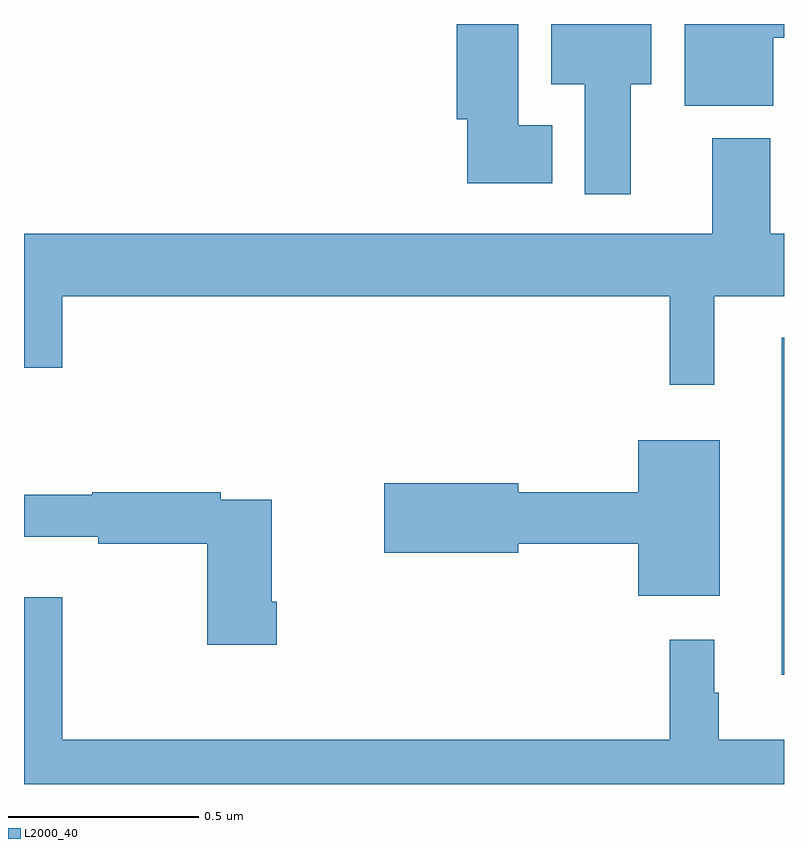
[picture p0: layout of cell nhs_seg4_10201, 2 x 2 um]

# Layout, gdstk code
import gdstk
lib = gdstk.Library(unit=1e-6, precision=1e-09)
def R(c, l, rs):  # rectangles x0, y0, x1, y1
    for r in rs: c.add(gdstk.rectangle(r[:2], r[2:], *l))
def P(c, l, *ps):  # polygons
    for p in ps: c.add(gdstk.Polygon(p, *l))
L2000_40 = (2000, 40)

nhs_seg4_10201 = lib.new_cell('nhs_seg4_10201')
R(nhs_seg4_10201, L2000_40, [(238.994,765.188,239,766.075)])
P(nhs_seg4_10201, L2000_40, [(238.972,766.864),(239,766.864),(239,766.9),(238.739,766.9),(238.739,766.685),(238.972,766.685)],
  [(238.597,766.742),(238.651,766.742),(238.651,766.9),(238.388,766.9),(238.388,766.742),(238.475,766.742),(238.475,766.452),(238.597,766.452)],
  [(238.39,766.633),(238.3,766.633),(238.3,766.9),(238.139,766.9),(238.139,766.649),(238.166,766.649),(238.166,766.481),(238.39,766.481)],
  [(238.817,766.184),(239,766.184),(239,766.348),(238.964,766.348),(238.964,766.6),(238.811,766.6),(238.811,766.348),(237,766.348),(237,765.996),(237.1,765.996),(237.1,766.184),(238.699,766.184),(238.699,765.951),(238.817,765.951)],
  [(238.831,765.805),(238.616,765.805),(238.616,765.668),(238.3,765.668),(238.3,765.692),(237.948,765.692),(237.948,765.509),(238.3,765.509),(238.3,765.532),(238.616,765.532),(238.616,765.395),(238.831,765.395)],
  [(237.665,765.379),(237.652,765.379),(237.652,765.648),(237.518,765.648),(237.518,765.668),(237.18,765.668),(237.18,765.661),(237,765.661),(237,765.551),(237.196,765.551),(237.196,765.532),(237.482,765.532),(237.482,765.267),(237.665,765.267)],
  [(239,765.016),(238.828,765.016),(238.828,765.14),(238.816,765.14),(238.816,765.28),(238.699,765.28),(238.699,765.016),(237.1,765.016),(237.1,765.391),(237,765.391),(237,764.9),(239,764.9)])

lib.write_gds('nhs_seg4_10201.gds')
